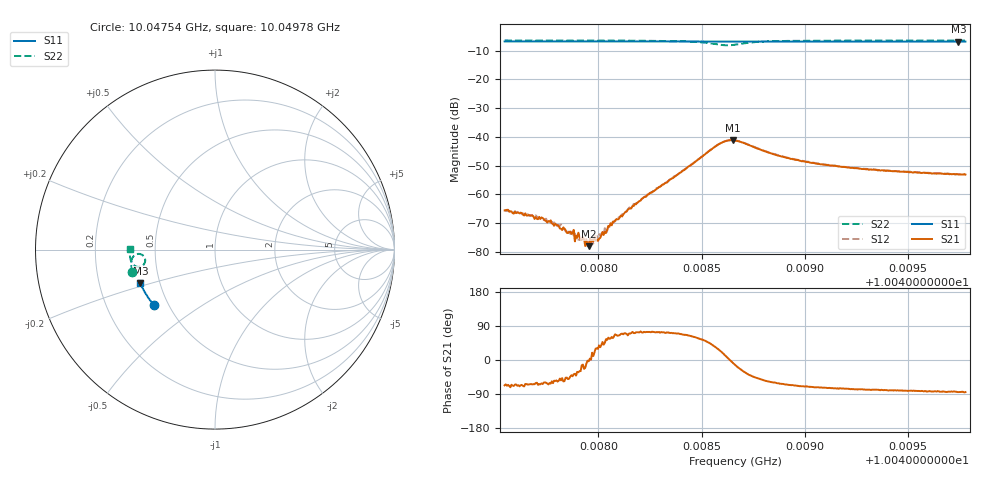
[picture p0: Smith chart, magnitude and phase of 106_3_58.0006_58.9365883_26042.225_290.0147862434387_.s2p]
#  HZ  S  RI  R  50.00
! Rohde & Schwarz Vector Network Analyzer
! Rohde-Schwarz,ZNB20-2Port,1311601062101988,3.16
! Created: UTC 3/21/2024, 12:55:01 AM
! freq[Hz]  re:S11  im:S11  re:S21  im:S21  re:S12  im:S12  re:S22  im:S22
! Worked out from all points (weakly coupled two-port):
!   401 points, 10.04754 GHz to 10.04978 GHz, reference 50 ohm
!   highest |S21| = -41.13 dB at 10.04865 GHz (marker M1); lowest = -78.0 dB at 10.04795 GHz (marker M2)
!   lowest |S11| = -6.8 dB at 10.04975 GHz (marker M3), VSWR 2.68, Z = 19.4 - j9.16 ohm
!   |S11| at or under -10 dB: nowhere
!   |S22| runs from -8.1 to -6.4 dB; largest |S21 - S12| = 0.00058
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1.0047545e10  -0.34 -0.3099  0.000207 -0.000484  0.000237 -0.000451  -0.4607 -0.1258
1.0047606e10  -0.3425 -0.3068  0.000179 -0.000444  0.000232 -0.000432  -0.4617 -0.1212
1.0047724e10  -0.3476 -0.3008  0.000188 -0.000348  0.000212 -0.000315  -0.4634 -0.1128
1.0047752e10  -0.3488 -0.2994  0.000152 -0.000284  0.000183 -0.000287  -0.4638 -0.1106
1.0047819e10  -0.3516 -0.2959  0.000148 -0.000202  0.000182 -0.000241  -0.4646 -0.1053
1.0047903e10  -0.3548 -0.2914  0.000181 -0.000115  0.00015 -6.21e-05  -0.4655 -0.0989
1.0047919e10  -0.3555 -0.2905  0.000155 -3.76e-05  0.000174 -4.12e-05  -0.4657 -0.0974
1.0047942e10  -0.3566 -0.2893  0.000164 -2.74e-05  0.000153 -4.54e-06  -0.466 -0.0957
1.0047953e10  -0.3571 -0.2888  0.000125 -7.52e-06  0.000145 1.35e-05  -0.4662 -0.0947
1.0047997e10  -0.3588 -0.2863  0.000135 7.53e-05  0.00013 0.000101  -0.4666 -0.0909
1.0048048e10  -0.3607 -0.2837  0.000145 0.000242  0.000144 0.000228  -0.4669 -0.0865
1.0048081e10  -0.3622 -0.282  0.000132 0.000323  0.000154 0.000302  -0.4669 -0.0835
1.004816e10  -0.3652 -0.2776  0.000184 0.000537  0.000173 0.000591  -0.4671 -0.0759
1.0048294e10  -0.3703 -0.2703  0.000369 0.00128  0.000299 0.0013  -0.4655 -0.0607
1.0048573e10  -0.3799 -0.2547  0.00598 0.00372  0.00577 0.00408  -0.4096 -0.0273
1.0048651e10  -0.3822 -0.2506  0.00871 -0.0011  0.00878 -0.000573  -0.391 -0.0729
1.0048662e10  -0.3828 -0.2502  0.00842 -0.00192  0.0086 -0.00139  -0.3946 -0.0797
1.0048875e10  -0.3904 -0.2385  0.00222 -0.00415  0.00251 -0.00403  -0.4594 -0.0787
1.0049037e10  -0.3958 -0.229  0.00114 -0.00334  0.00133 -0.0033  -0.4694 -0.0587
1.0049411e10  -0.4071 -0.2071  0.000455 -0.00254  0.000578 -0.0025  -0.4753 -0.0249
1.0049746e10  -0.4161 -0.1868  0.000205 -0.00222  0.000341 -0.00221  -0.476 0.000223
1.004978e10  -0.417 -0.1848  0.000204 -0.0022  0.000306 -0.00221  -0.4761 0.00259
